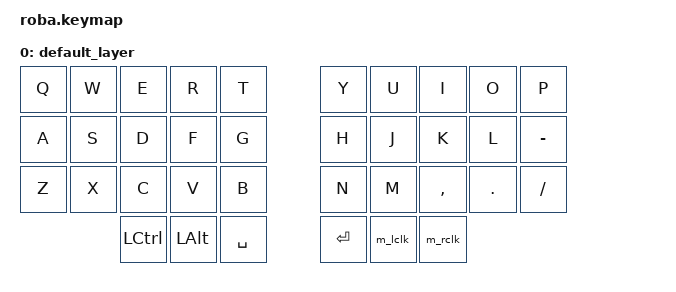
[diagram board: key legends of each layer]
#include <behaviors.dtsi>
#include <dt-bindings/zmk/keys.h>
#include <dt-bindings/zmk/pointing.h>

/ {
    /* マウスクリックの動作定義 */
    behaviors {
        m_lclk: mouse_left_click {
            compatible = "zmk,behavior-mouse-key-press";
            #binding-cells = <0>;
            usage-page = <0x09>;
            usage-id = <0x01>;
        };
        m_rclk: mouse_right_click {
            compatible = "zmk,behavior-mouse-key-press";
            #binding-cells = <0>;
            usage-page = <0x09>;
            usage-id = <0x02>;
        };
    };

    /* デフォルトのキー割り当てベース（ZMK Studioで上書き可能） */
    keymap {
        compatible = "zmk,keymap";

        default_layer {
            bindings = <
                &kp Q  &kp W  &kp E  &kp R  &kp T         &kp Y  &kp U  &kp I      &kp O    &kp P
                &kp A  &kp S  &kp D  &kp F  &kp G         &kp H  &kp J  &kp K      &kp L    &kp MINUS
                &kp Z  &kp X  &kp C  &kp V  &kp B         &kp N  &kp M  &kp COMMA  &kp DOT  &kp SLASH
                                     &kp LCTRL &kp LALT &kp SPACE   &kp RET &m_lclk &m_rclk
            >;
        };
    };
};
